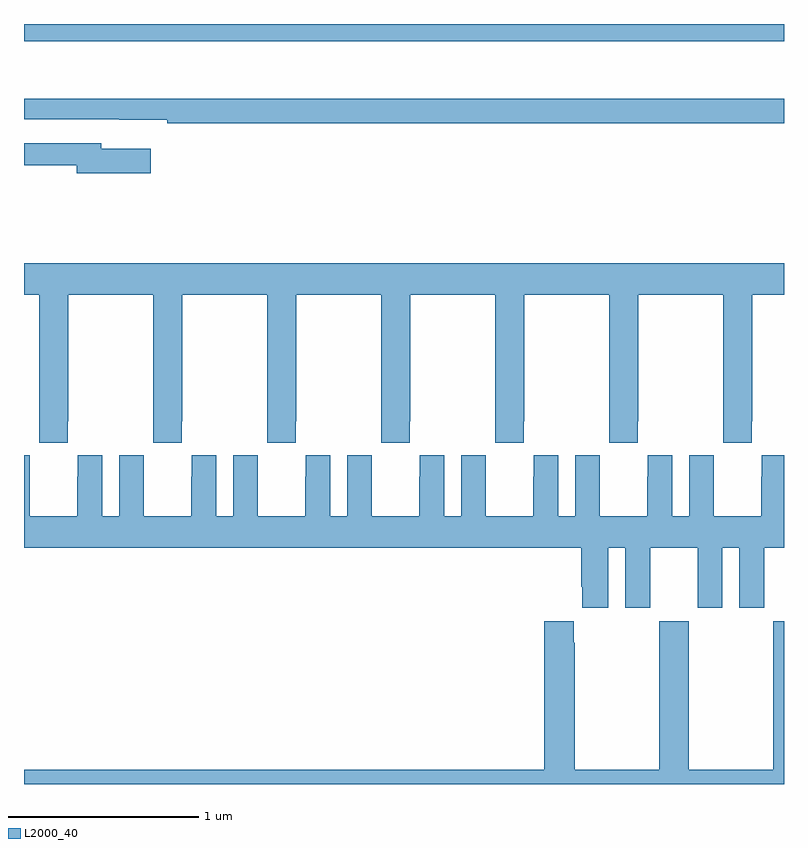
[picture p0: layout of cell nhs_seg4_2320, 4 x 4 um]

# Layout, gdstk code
import gdstk
lib = gdstk.Library(unit=1e-6, precision=1e-09)
def R(c, l, rs):  # rectangles x0, y0, x1, y1
    for r in rs: c.add(gdstk.rectangle(r[:2], r[2:], *l))
def P(c, l, *ps):  # polygons
    for p in ps: c.add(gdstk.Polygon(p, *l))
L2000_40 = (2000, 40)

nhs_seg4_2320 = lib.new_cell('nhs_seg4_2320')
R(nhs_seg4_2320, L2000_40, [(231,808.808,235,808.9)])
P(nhs_seg4_2320, L2000_40, [(235,808.507),(231,808.507),(231,808.398),(231.502,808.398),(231.502,808.397),(231.754,808.397),(231.754,808.378),(235,808.378)],
  [(231.667,808.243),(231.406,808.243),(231.406,808.272),(231,808.272),(231,808.156),(231.278,808.156),(231.278,808.114),(231.667,808.114)],
  [(231.231,806.809),(231.234,806.809),(231.234,807.476),(231.679,807.476),(231.679,806.809),(231.681,806.809),(231.681,806.697),(231.831,806.697),(231.831,806.809),(231.834,806.809),(231.834,807.476),(232.279,807.476),(232.279,806.809),(232.281,806.809),(232.281,806.697),(232.431,806.697),(232.431,806.809),(232.434,806.809),(232.434,807.476),(232.879,807.476),(232.879,806.809),(232.881,806.809),(232.881,806.697),(233.031,806.697),(233.031,806.809),(233.034,806.809),(233.034,807.476),(233.479,807.476),(233.479,806.809),(233.481,806.809),(233.481,806.697),(233.631,806.697),(233.631,806.809),(233.634,806.809),(233.634,807.476),(234.079,807.476),(234.079,806.809),(234.081,806.809),(234.081,806.697),(234.231,806.697),(234.231,806.809),(234.234,806.809),(234.234,807.476),(234.679,807.476),(234.679,806.809),(234.681,806.809),(234.681,806.697),(234.831,806.697),(234.831,806.809),(234.834,806.809),(234.834,807.476),(235,807.476),(235,807.64),(231,807.64),(231,807.476),(231.079,807.476),(231.079,806.809),(231.081,806.809),(231.081,806.697),(231.231,806.697)],
  [(234.076,806.144),(234.164,806.144),(234.164,805.827),(234.295,805.827),(234.295,806.144),(234.545,806.144),(234.545,805.827),(234.676,805.827),(234.676,806.144),(234.764,806.144),(234.764,805.827),(234.895,805.827),(234.895,806.144),(235,806.144),(235,806.629),(234.882,806.629),(234.882,806.516),(234.881,806.516),(234.881,806.308),(234.631,806.308),(234.631,806.516),(234.63,806.516),(234.63,806.629),(234.5,806.629),(234.5,806.308),(234.412,806.308),(234.412,806.629),(234.282,806.629),(234.282,806.516),(234.281,806.516),(234.281,806.308),(234.031,806.308),(234.031,806.516),(234.03,806.516),(234.03,806.629),(233.9,806.629),(233.9,806.308),(233.812,806.308),(233.812,806.629),(233.682,806.629),(233.682,806.516),(233.681,806.516),(233.681,806.308),(233.431,806.308),(233.431,806.516),(233.43,806.516),(233.43,806.629),(233.3,806.629),(233.3,806.308),(233.212,806.308),(233.212,806.629),(233.082,806.629),(233.082,806.516),(233.081,806.516),(233.081,806.308),(232.831,806.308),(232.831,806.516),(232.83,806.516),(232.83,806.629),(232.7,806.629),(232.7,806.308),(232.612,806.308),(232.612,806.629),(232.482,806.629),(232.482,806.516),(232.481,806.516),(232.481,806.308),(232.231,806.308),(232.231,806.516),(232.23,806.516),(232.23,806.629),(232.1,806.629),(232.1,806.308),(232.012,806.308),(232.012,806.629),(231.882,806.629),(231.882,806.516),(231.881,806.516),(231.881,806.308),(231.631,806.308),(231.631,806.516),(231.63,806.516),(231.63,806.629),(231.5,806.629),(231.5,806.308),(231.412,806.308),(231.412,806.629),(231.282,806.629),(231.282,806.516),(231.281,806.516),(231.281,806.308),(231.031,806.308),(231.031,806.516),(231.03,806.516),(231.03,806.629),(231,806.629),(231,806.144),(233.933,806.144),(233.933,805.939),(233.939,805.939),(233.939,805.827),(234.076,805.827)],
  [(235,805.756),(234.943,805.756),(234.943,804.976),(234.498,804.976),(234.498,805.756),(234.343,805.756),(234.343,804.976),(233.898,804.976),(233.898,805.643),(233.893,805.643),(233.893,805.756),(233.738,805.756),(233.738,804.976),(231,804.976),(231,804.9),(235,804.9)])

lib.write_gds('nhs_seg4_2320.gds')
